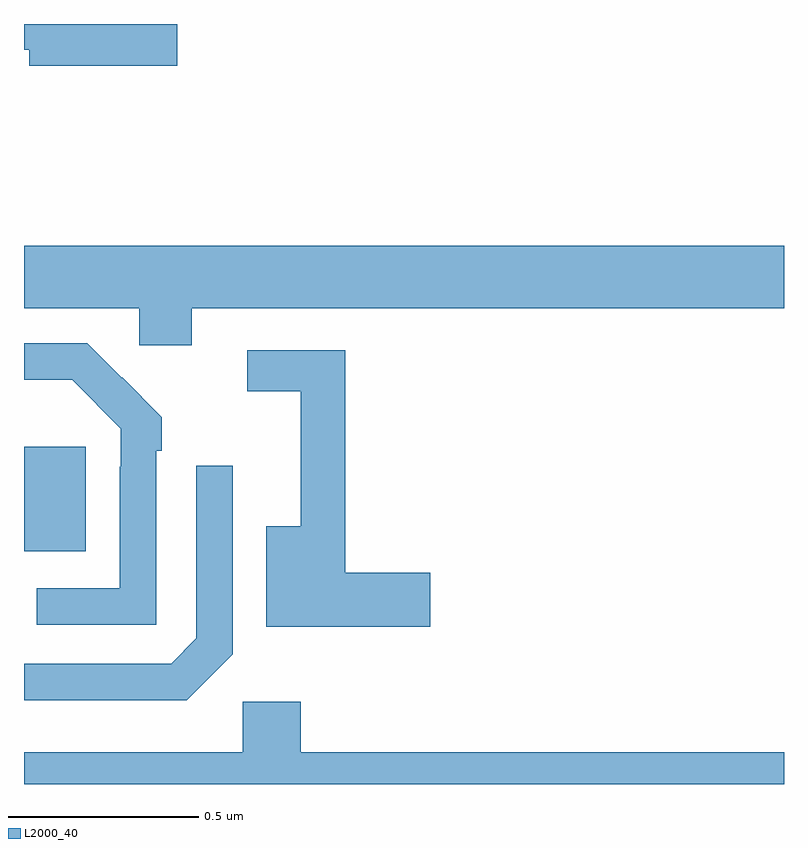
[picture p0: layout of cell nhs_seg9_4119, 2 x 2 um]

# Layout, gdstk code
import gdstk
lib = gdstk.Library(unit=1e-6, precision=1e-09)
def R(c, l, rs):  # rectangles x0, y0, x1, y1
    for r in rs: c.add(gdstk.rectangle(r[:2], r[2:], *l))
def P(c, l, *ps):  # polygons
    for p in ps: c.add(gdstk.Polygon(p, *l))
L2000_40 = (2000, 40)

nhs_seg9_4119 = lib.new_cell('nhs_seg9_4119')
R(nhs_seg9_4119, L2000_40, [(162,1197.113,162.163,1197.388)])
P(nhs_seg9_4119, L2000_40, [(162.403,1198.5),(162,1198.5),(162,1198.432),(162.014,1198.432),(162.014,1198.39),(162.403,1198.39)],
  [(162.442,1197.752),(164,1197.752),(164,1197.916),(162,1197.916),(162,1197.752),(162.303,1197.752),(162.303,1197.654),(162.442,1197.654)],
  [(162.348,1197.377),(162.363,1197.377),(162.363,1197.465),(162.258,1197.57),(162.257,1197.569),(162.166,1197.66),(162,1197.66),(162,1197.564),(162.127,1197.564),(162.255,1197.435),(162.255,1197.335),(162.252,1197.335),(162.252,1197.015),(162.033,1197.015),(162.033,1196.919),(162.348,1196.919)],
  [(163.069,1197.056),(162.845,1197.056),(162.845,1197.642),(162.588,1197.642),(162.588,1197.534),(162.728,1197.534),(162.728,1197.178),(162.638,1197.178),(162.638,1196.914),(163.069,1196.914)],
  [(162.549,1196.841),(162.549,1197.337),(162.453,1197.337),(162.453,1196.883),(162.387,1196.817),(162,1196.817),(162,1196.72),(162.428,1196.72)],
  [(164,1196.584),(162.728,1196.584),(162.728,1196.716),(162.576,1196.716),(162.576,1196.584),(162,1196.584),(162,1196.5),(164,1196.5)])

lib.write_gds('nhs_seg9_4119.gds')
